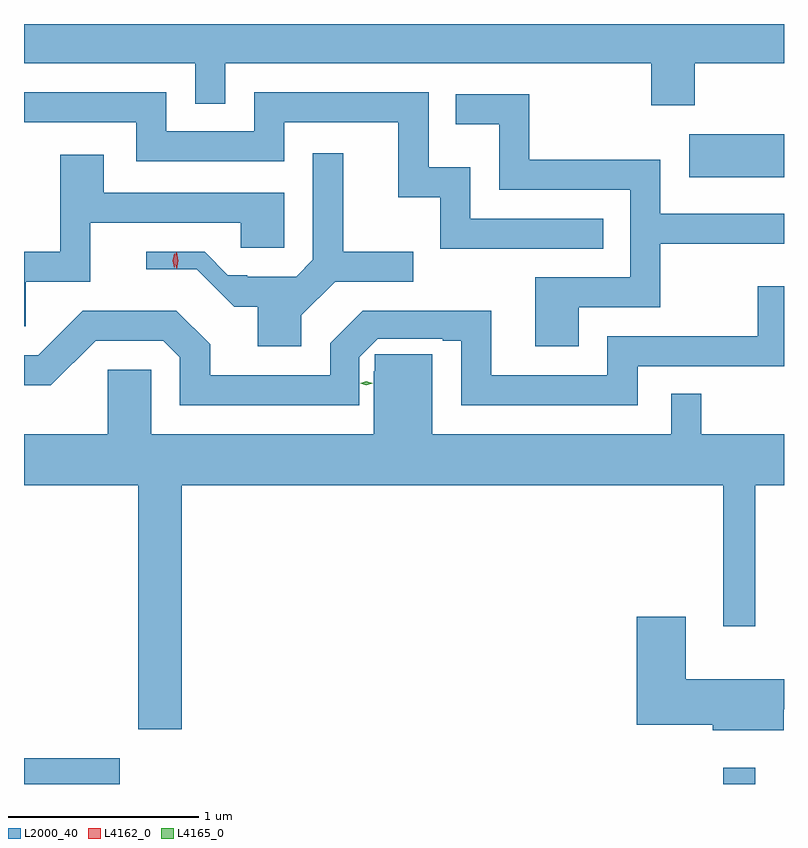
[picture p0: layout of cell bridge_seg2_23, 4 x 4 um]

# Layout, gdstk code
import gdstk
lib = gdstk.Library(unit=1e-6, precision=1e-09)
def R(c, l, rs):  # rectangles x0, y0, x1, y1
    for r in rs: c.add(gdstk.rectangle(r[:2], r[2:], *l))
def P(c, l, *ps):  # polygons
    for p in ps: c.add(gdstk.Polygon(p, *l))
L2000_40 = (2000, 40)
L4162_0 = (4162, 0)
L4165_0 = (4165, 0)

bridge_seg2_23 = lib.new_cell('bridge_seg2_23')
R(bridge_seg2_23, L2000_40, [(1667.99,1046.743,1668.494,1046.879), (1671.671,1046.743,1671.839,1046.828), (1671.491,1049.936,1671.99,1050.164)])
P(bridge_seg2_23, L2000_40, [(1671.519,1050.536),(1671.99,1050.536),(1671.99,1050.743),(1667.99,1050.743),(1667.99,1050.536),(1668.891,1050.536),(1668.891,1050.323),(1669.049,1050.323),(1669.049,1050.536),(1671.291,1050.536),(1671.291,1050.316),(1671.519,1050.316)],
  [(1671.038,1049.719),(1670.339,1049.719),(1670.339,1049.989),(1670.119,1049.989),(1670.119,1050.384),(1669.201,1050.384),(1669.201,1050.179),(1668.739,1050.179),(1668.739,1050.384),(1667.99,1050.384),(1667.99,1050.226),(1668.581,1050.226),(1668.581,1050.021),(1669.359,1050.021),(1669.359,1050.226),(1669.961,1050.226),(1669.961,1049.831),(1670.181,1049.831),(1670.181,1049.561),(1671.038,1049.561)],
  [(1670.909,1049.251),(1671.339,1049.251),(1671.339,1049.586),(1671.99,1049.586),(1671.99,1049.744),(1671.339,1049.744),(1671.339,1050.029),(1670.649,1050.029),(1670.649,1050.374),(1670.263,1050.374),(1670.263,1050.216),(1670.491,1050.216),(1670.491,1049.871),(1671.181,1049.871),(1671.181,1049.409),(1670.681,1049.409),(1670.681,1049.046),(1670.909,1049.046)],
  [(1669.449,1049.209),(1669.627,1049.386),(1670.038,1049.386),(1670.038,1049.544),(1669.669,1049.544),(1669.669,1050.063),(1669.511,1050.063),(1669.511,1049.502),(1669.424,1049.414),(1669.165,1049.414),(1669.165,1049.421),(1669.063,1049.421),(1668.94,1049.544),(1668.633,1049.544),(1668.633,1049.452),(1668.9,1049.452),(1669.096,1049.256),(1669.221,1049.256),(1669.221,1049.046),(1669.449,1049.046)],
  [(1667.999,1049.386),(1668.339,1049.386),(1668.339,1049.696),(1669.131,1049.696),(1669.131,1049.566),(1669.359,1049.566),(1669.359,1049.854),(1668.409,1049.854),(1668.409,1050.054),(1668.181,1050.054),(1668.181,1049.544),(1667.99,1049.544),(1667.99,1049.151),(1667.999,1049.151)],
  [(1669.754,1048.989),(1669.851,1049.086),(1670.195,1049.086),(1670.195,1049.076),(1670.291,1049.076),(1670.291,1048.736),(1671.219,1048.736),(1671.219,1048.941),(1671.99,1048.941),(1671.99,1049.364),(1671.851,1049.364),(1671.851,1049.099),(1671.061,1049.099),(1671.061,1048.894),(1670.449,1048.894),(1670.449,1049.234),(1669.774,1049.234),(1669.601,1049.062),(1669.601,1048.894),(1668.969,1048.894),(1668.969,1049.057),(1668.792,1049.234),(1668.299,1049.234),(1668.064,1048.999),(1667.99,1048.999),(1667.99,1048.841),(1668.132,1048.841),(1668.367,1049.076),(1668.724,1049.076),(1668.811,1048.989),(1668.811,1048.736),(1669.754,1048.736)],
  [(1671.671,1047.573),(1671.839,1047.573),(1671.839,1048.316),(1671.99,1048.316),(1671.99,1048.584),(1671.554,1048.584),(1671.554,1048.798),(1671.396,1048.798),(1671.396,1048.584),(1670.139,1048.584),(1670.139,1049.004),(1669.835,1049.004),(1669.835,1048.916),(1669.83,1048.916),(1669.83,1048.584),(1668.659,1048.584),(1668.659,1048.924),(1668.431,1048.924),(1668.431,1048.584),(1667.99,1048.584),(1667.99,1048.316),(1668.591,1048.316),(1668.591,1047.031),(1668.819,1047.031),(1668.819,1048.316),(1671.671,1048.316)],
  [(1671.989,1047.136),(1671.99,1047.136),(1671.99,1047.294),(1671.474,1047.294),(1671.474,1047.624),(1671.216,1047.624),(1671.216,1047.056),(1671.616,1047.056),(1671.616,1047.026),(1671.989,1047.026)])
P(bridge_seg2_23, L4162_0, [(1668.794,1049.452),(1668.794,1049.453),(1668.783,1049.497),(1668.792,1049.542),(1668.793,1049.543),(1668.793,1049.542),(1668.803,1049.498),(1668.795,1049.453)],
  [(1668.781,1049.459),(1668.772,1049.496),(1668.782,1049.533),(1668.782,1049.534),(1668.783,1049.533),(1668.792,1049.496),(1668.782,1049.459),(1668.782,1049.459)])
P(bridge_seg2_23, L4165_0, [(1669.792,1048.843),(1669.759,1048.852),(1669.758,1048.853),(1669.759,1048.853),(1669.792,1048.863),(1669.826,1048.853),(1669.826,1048.853),(1669.826,1048.852)],
  [(1669.792,1048.842),(1669.761,1048.852),(1669.76,1048.853),(1669.761,1048.853),(1669.792,1048.862),(1669.823,1048.852),(1669.823,1048.852),(1669.823,1048.851)])

lib.write_gds('bridge_seg2_23.gds')
